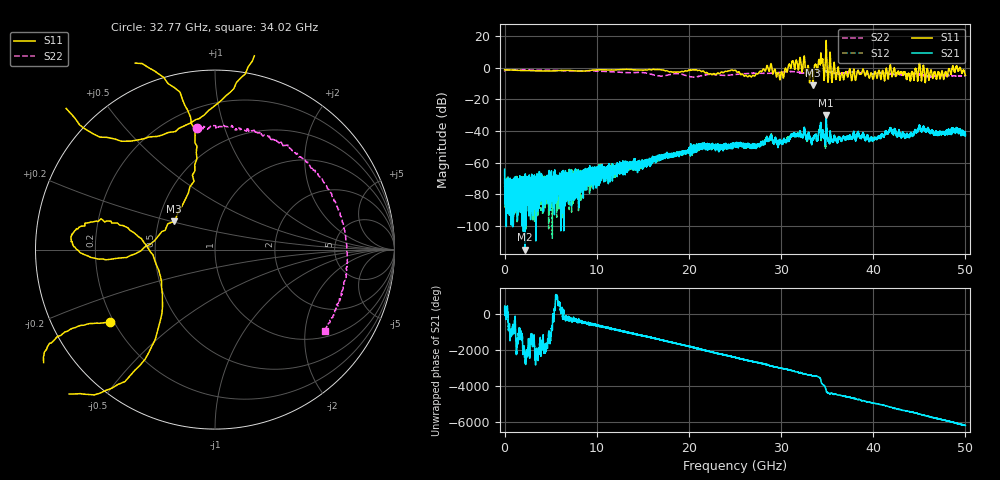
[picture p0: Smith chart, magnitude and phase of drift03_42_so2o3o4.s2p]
!Created with skrf (http://scikit-rf.org).
# Hz S RI R 50.0
!freq ReS11 ImS11 ReS21 ImS21 ReS12 ImS12 ReS22 ImS22
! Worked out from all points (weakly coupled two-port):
!   10001 points, 300 kHz to 50 GHz, reference 50 ohm
!   highest |S21| = -29.81 dB at 34.89 GHz (marker M1); lowest = -114.9 dB at 2.225 GHz (marker M2)
!   lowest |S11| = -11.1 dB at 33.47 GHz (marker M3), VSWR 1.77, Z = 30 + j10.2 ohm
!   |S11| at or under -10 dB: 33.44884 GHz to 33.48531 GHz (36.47 MHz wide, 0.109 % of centre)
!   |S22| runs from -5.9 to -1.3 dB; largest |S21 - S12| = 0.0091
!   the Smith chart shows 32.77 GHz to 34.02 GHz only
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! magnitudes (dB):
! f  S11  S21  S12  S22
! 300 kHz  -1.3  -64.1  -69.9  -2.0
! 290.3 MHz  -1.3  -72.2  -77.8  -1.4
! 2.225 GHz  -1.8  -114.9  -75.7  -1.3
! 8.335 GHz  -2.2  -75.3  -67.5  -1.9
! 16.67 GHz  -1.1  -57.3  -57.5  -5.2
! 21.57 GHz  -2.1  -50.1  -50.2  -4.8
! 25 GHz  -1.5  -47.8  -48.3  -4.3
! 26.92 GHz  -4.9  -50.2  -48.2  -3.5
! 28.73 GHz  -2.2  -45.9  -44.9  -3.5
! 30.06 GHz  -2.5  -47.7  -47.4  -2.8
! 31.08 GHz  -0.2  -43.9  -43.8  -2.4
! 31.87 GHz  -1.4  -42.4  -42.7  -2.9
! 33.34 GHz  -2.2  -47.1  -46.7  -2.9
! 33.47 GHz  -11.1  -45.3  -45.1  -2.8
! 34.29 GHz  6.4  -35.0  -35.3  -2.3
! 34.89 GHz  17.0  -29.8  -32.6  -2.4
! 36.58 GHz  -3.4  -45.9  -46.0  -3.5
! 40.15 GHz  -3.0  -45.0  -44.0  -3.7
! 41.67 GHz  -5.5  -40.5  -40.5  -3.6
! 47.06 GHz  -2.8  -42.5  -41.9  -5.1
! 49.21 GHz  -1.9  -41.0  -39.5  -5.1
! 50 GHz  -4.8  -42.7  -41.9  -5.0
